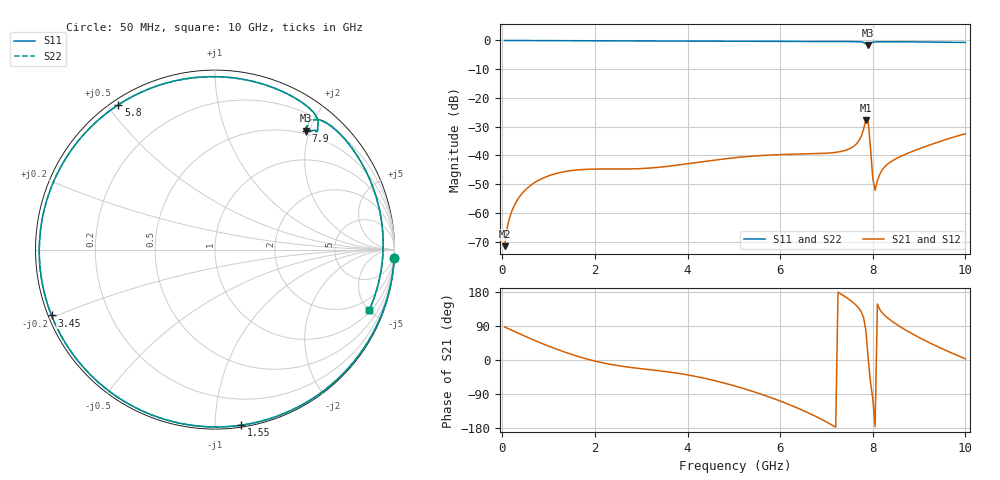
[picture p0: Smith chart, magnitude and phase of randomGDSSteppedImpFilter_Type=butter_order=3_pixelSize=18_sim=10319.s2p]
! freq	dB(S11)	phase(S11)	dB(S12)	phase(S12)
!  dB(S21)	phase(S21)	dB(S22)	phase(S22)
!S-par simulation data
#  GHz  S  DB  R 50
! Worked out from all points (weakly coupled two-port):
!   200 points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, 50 MHz to 10 GHz, reference 50 ohm
!   highest |S21| = -27.62 dB at 7.85 GHz (marker M1); lowest = -71.6 dB at 50 MHz (marker M2)
!   lowest |S11| = -1.6 dB at 7.9 GHz (marker M3), VSWR 11.01, Z = 22.3 + j96.9 ohm
!   |S11| at or under -10 dB: nowhere
!   |S22| runs from -1.6 to 0.0 dB; largest |S21 - S12| = 0
!   S11 on the Smith chart (normalised r, x): 50 MHz: 0, -40; 1.55 GHz: 0.01, -1.16; 3.45 GHz: 0.01, -0.19; 5.8 GHz: 0.02, +0.54; 7.9 GHz: 0.45, +1.94; 10 GHz: 1.11, -5.06
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0.05  -0.00 -2.8  -71.58 87.1  -71.58 87.1  -0.00 -2.8
0.2  -0.02 -11.3  -59.61 78.7  -59.61 78.7  -0.02 -11.3
0.45  -0.04 -25.1  -52.84 65.0  -52.84 65.0  -0.04 -25.1
1  -0.07 -54.5  -47.11 36.7  -47.11 36.7  -0.07 -54.5
1.55  -0.09 -81.6  -45.17 12.6  -45.17 12.6  -0.09 -81.6
1.75  -0.10 -90.9  -44.90 5.3  -44.90 5.3  -0.10 -90.9
2.6  -0.13 -126.6  -44.73 -16.8  -44.73 -16.8  -0.13 -126.7
3.4  -0.16 -156.3  -44.09 -28.5  -44.09 -28.5  -0.16 -156.3
3.45  -0.16 -158.0  -44.01 -29.2  -44.01 -29.2  -0.16 -158.1
5.05  -0.23 148.4  -40.76 -69.5  -40.76 -69.5  -0.23 148.4
5.8  -0.26 123.7  -39.85 -99.2  -39.85 -99.2  -0.27 123.6
6.7  -0.32 93.1  -39.44 -144.8  -39.44 -144.8  -0.32 93.1
7.55  -0.40 62.7  -37.25 154.1  -37.25 154.1  -0.40 62.5
7.75  -0.53 54.2  -33.39 127.4  -33.39 127.4  -0.54 54.0
7.85  -1.14 49.3  -27.62 78.8  -27.62 78.8  -1.21 49.0
7.9  -1.58 52.7  -27.86 5.1  -27.86 5.1  -1.62 53.1
8  -0.63 51.2  -48.02 -101.1  -48.02 -101.1  -0.64 51.2
8.05  -0.52 48.6  -52.09 -175.8  -52.09 -175.8  -0.53 48.6
8.15  -0.46 44.2  -46.58 133.7  -46.58 133.7  -0.46 44.2
8.35  -0.45 36.4  -42.64 108.2  -42.64 108.2  -0.45 36.4
9.15  -0.53 7.7  -36.82 50.0  -36.82 50.0  -0.54 7.6
10  -0.70 -21.4  -32.43 3.0  -32.43 3.0  -0.70 -21.5
